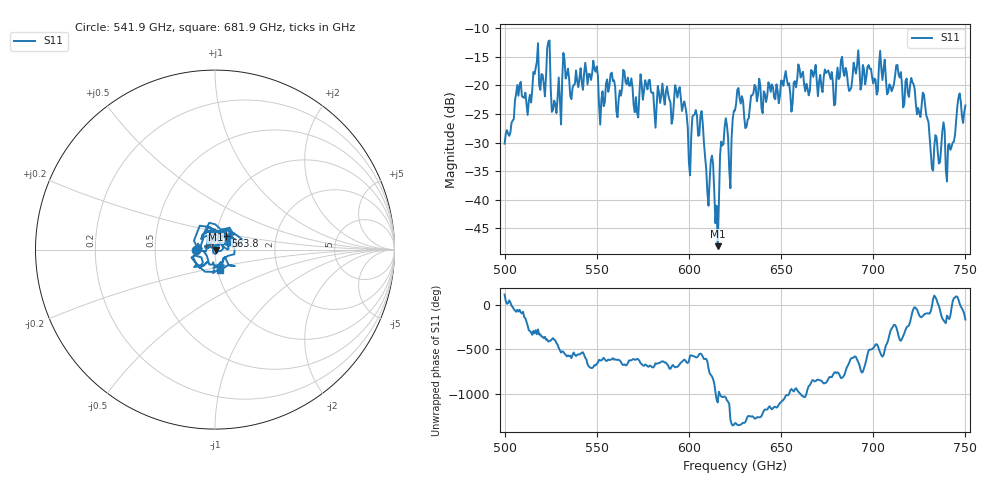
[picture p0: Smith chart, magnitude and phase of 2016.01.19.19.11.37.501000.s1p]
!Created with skrf (http://scikit-rf.org).
# GHz S RI R 50.0
!freq ReS11 ImS11
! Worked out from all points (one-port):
!   401 points, 500 GHz to 750 GHz, reference 50 ohm
!   lowest |S11| = -48.1 dB at 615.6 GHz (marker M1), VSWR 1.01, Z = 50.4 - j0.123 ohm
!   |S11| at or under -10 dB: start of sweep to end of sweep
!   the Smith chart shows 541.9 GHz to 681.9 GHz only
!   S11 on the Smith chart (normalised r, x): 541.9 GHz: 0.81, -0.00; 563.8 GHz: 1.11, +0.17; 681.9 GHz: 1.03, -0.24
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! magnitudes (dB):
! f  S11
! 500 GHz  -30.2
! 507.5 GHz  -21.8
! 513.1 GHz  -22.7
! 516.9 GHz  -16.9
! 523.8 GHz  -12.3
! 526.9 GHz  -22.7
! 531.2 GHz  -19.0
! 541.9 GHz  -19.5
! 562.5 GHz  -20.9
! 563.8 GHz  -20.5
! 571.2 GHz  -22.0
! 593.8 GHz  -22.1
! 600 GHz  -33.5
! 606.9 GHz  -24.5
! 610 GHz  -38.7
! 615.6 GHz  -48.1
! 618.8 GHz  -30.2
! 622.5 GHz  -38.0
! 625 GHz  -24.4
! 656.2 GHz  -23.1
! 681.9 GHz  -18.5
! 687.5 GHz  -20.8
! 718.8 GHz  -21.3
! 728.1 GHz  -23.4
! 731.9 GHz  -34.6
! 740.6 GHz  -30.5
! 746.2 GHz  -22.1
! 750 GHz  -23.5
